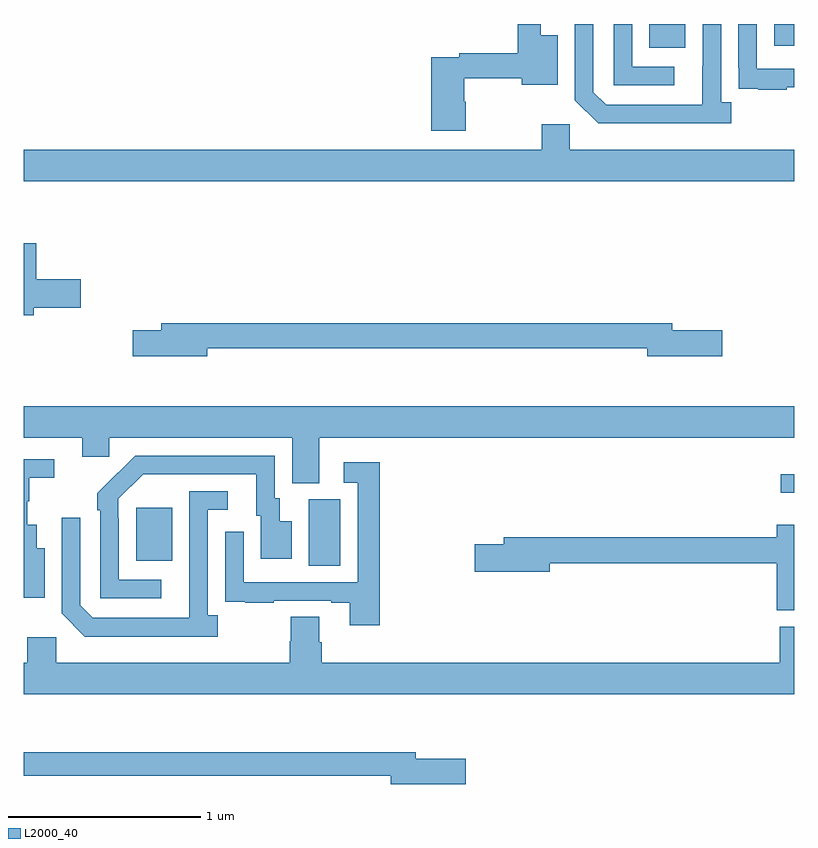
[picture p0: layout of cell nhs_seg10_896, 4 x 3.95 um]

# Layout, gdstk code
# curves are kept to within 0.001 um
import gdstk
lib = gdstk.Library(unit=1e-6, precision=1e-09)
def R(c, l, rs):  # rectangles x0, y0, x1, y1
    for r in rs: c.add(gdstk.rectangle(r[:2], r[2:], *l))
def P(c, l, *ps):  # polygons
    for p in ps: c.add(gdstk.Polygon(p, *l))
L2000_40 = (2000, 40)

nhs_seg10_896 = lib.new_cell('nhs_seg10_896')
R(nhs_seg10_896, L2000_40, [(158.48,1263.688,158.644,1264.032), (157.583,1263.713,157.771,1263.988), (160.929,1264.068,161,1264.164), (160.247,1266.377,160.435,1266.5), (160.895,1266.387,161,1266.5)])
P(nhs_seg10_896, L2000_40, [(160.378,1266.279),(160.158,1266.279),(160.158,1266.5),(160.062,1266.5),(160.062,1266.183),(160.378,1266.183)],
  [(160.672,1266.094),(160.62,1266.094),(160.62,1266.5),(160.524,1266.5),(160.523,1266.081),(160.023,1266.081),(159.957,1266.147),(159.957,1266.5),(159.861,1266.5),(159.861,1266.105),(159.982,1265.984),(160.672,1265.984)],
  [(160.961,1266.171),(161,1266.171),(161,1266.267),(160.806,1266.267),(160.806,1266.5),(160.71,1266.5),(160.71,1266.274),(160.711,1266.274),(160.711,1266.165),(160.813,1266.165),(160.813,1266.159),(160.961,1266.159)],
  [(159.294,1266.096),(159.286,1266.096),(159.286,1266.219),(159.584,1266.219),(159.584,1266.185),(159.772,1266.185),(159.772,1266.442),(159.683,1266.442),(159.683,1266.5),(159.565,1266.5),(159.565,1266.347),(159.262,1266.347),(159.262,1266.327),(159.116,1266.327),(159.116,1265.946),(159.294,1265.946)],
  [(161,1265.848),(159.834,1265.848),(159.834,1265.98),(159.688,1265.98),(159.688,1265.848),(157,1265.848),(157,1265.684),(161,1265.684)],
  [(157.051,1265.027),(157.297,1265.027),(157.297,1265.174),(157.064,1265.174),(157.064,1265.362),(157,1265.362),(157,1264.988),(157.051,1264.988)],
  [(157.954,1264.818),(160.238,1264.818),(160.238,1264.775),(160.627,1264.775),(160.627,1264.91),(160.366,1264.91),(160.366,1264.946),(157.715,1264.946),(157.715,1264.91),(157.566,1264.91),(157.566,1264.775),(157.954,1264.775)],
  [(158.533,1264.352),(161,1264.352),(161,1264.516),(157,1264.516),(157,1264.352),(157.304,1264.352),(157.304,1264.254),(157.443,1264.254),(157.443,1264.352),(158.393,1264.352),(158.393,1264.117),(158.533,1264.117)],
  [(157.714,1263.615),(157.494,1263.615),(157.494,1263.935),(157.491,1263.935),(157.491,1264.035),(157.62,1264.164),(158.207,1264.164),(158.207,1263.948),(158.231,1263.948),(158.231,1263.723),(158.392,1263.723),(158.392,1263.919),(158.329,1263.919),(158.329,1264.038),(158.304,1264.038),(158.304,1264.26),(157.58,1264.26),(157.383,1264.065),(157.383,1263.977),(157.398,1263.977),(157.398,1263.519),(157.714,1263.519)],
  [(157.108,1263.778),(157.069,1263.778),(157.069,1263.901),(157.019,1263.901),(157.019,1264.023),(157.03,1264.023),(157.03,1264.144),(157.159,1264.144),(157.159,1264.242),(157,1264.242),(157,1263.521),(157.108,1263.521)],
  [(158.849,1264.225),(158.661,1264.225),(158.661,1264.119),(158.733,1264.119),(158.733,1263.603),(158.142,1263.603),(158.142,1263.865),(158.046,1263.865),(158.046,1263.61),(158.047,1263.61),(158.047,1263.501),(158.149,1263.501),(158.149,1263.495),(158.297,1263.495),(158.297,1263.507),(158.597,1263.507),(158.597,1263.495),(158.693,1263.495),(158.693,1263.378),(158.849,1263.378)],
  [(158.008,1263.43),(157.956,1263.43),(157.956,1263.978),(158.059,1263.978),(158.059,1264.074),(157.86,1264.074),(157.859,1263.417),(157.359,1263.417),(157.293,1263.483),(157.293,1263.937),(157.197,1263.937),(157.197,1263.441),(157.318,1263.32),(158.008,1263.32)],
  [(161,1263.901),(160.91,1263.901),(160.91,1263.836),(159.491,1263.836),(159.491,1263.8),(159.342,1263.8),(159.342,1263.658),(159.73,1263.658),(159.73,1263.7),(160.91,1263.7),(160.91,1263.457),(161,1263.457)],
  [(161,1263.372),(160.925,1263.372),(160.925,1263.184),(158.546,1263.184),(158.546,1263.29),(158.533,1263.29),(158.533,1263.422),(158.386,1263.422),(158.386,1263.297),(158.381,1263.297),(158.381,1263.184),(157.17,1263.184),(157.17,1263.316),(157.019,1263.316),(157.019,1263.184),(157,1263.184),(157,1263.02),(161,1263.02)],
  [(159.295,1262.685),(159.034,1262.685),(159.034,1262.719),(157,1262.719),(157,1262.598),(158.906,1262.598),(158.906,1262.555),(159.295,1262.555)])

lib.write_gds('nhs_seg10_896.gds')
